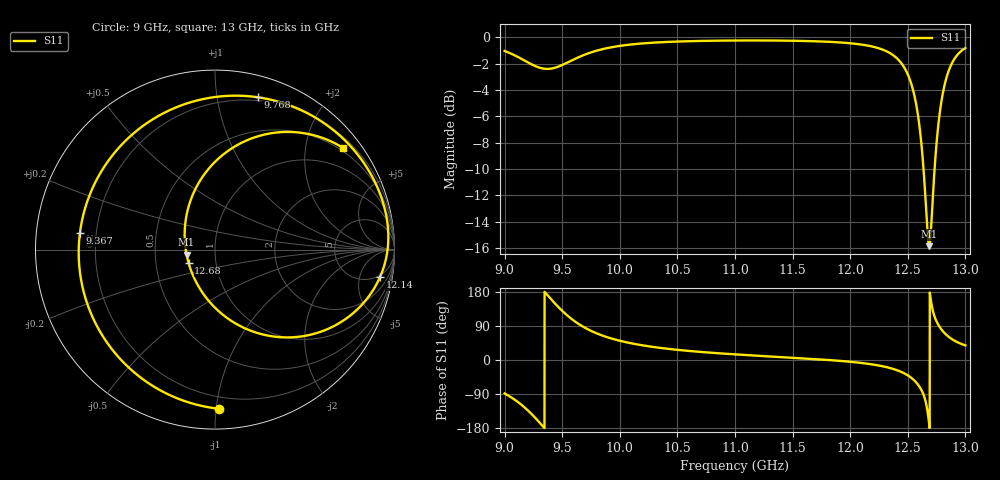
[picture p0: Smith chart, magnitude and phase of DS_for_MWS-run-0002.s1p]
! TOUCHSTONE file generated by CST DESIGN STUDIO
! Date and time: Tue Feb  4 17:26:03 2025
! Project name: C:\Work\MatlabApps\UnitCellOptimizationMatlab\CST\unitcell.cst
! Tree item: Tasks\Sweep1\SPara1\S-Parameters
! Header version: 2024
! Port assignment regex: !\s*Touchstone port\s*([0-9]+)\s*=\s*(CST MWS port|CST DES external port|CST DES block port)\s*(.+)\s* \(\"(.*)\"\)(\s*mode\s*([0-9]+))?.*
! Touchstone port assignment:
! Touchstone port 1 = CST DES external port 1 ("")
# GHz S MA R 50
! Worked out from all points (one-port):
!   4001 points, 9 GHz to 13 GHz, reference 50 ohm
!   lowest |S11| = -15.9 dB at 12.69 GHz (marker M1), VSWR 1.38, Z = 36.3 - j2.17 ohm
!   |S11| at or under -10 dB: 12.64 GHz to 12.73 GHz (96.05 MHz wide, 0.757 % of centre)
!   S11 on the Smith chart (normalised r, x): 9 GHz: 0.12, -1.02; 9.367 GHz: 0.14, +0.06; 9.768 GHz: 0.17, +1.30; 12.14 GHz: 4, -10; 12.68 GHz: 0.74, -0.12; 13 GHz: 0.42, +2.81
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9  0.8872 -88.5
9.095  0.8509 -106.3
9.179  0.8133 -126.7
9.281  0.7726 -157.5
9.367  0.7583 173.0
9.428  0.7642 152.2
9.5  0.7848 129.7
9.619  0.8312 99.9
9.768  0.8815 74.4
10  0.9276 50.7
10.216  0.9493 37.7
10.5  0.9635 26.8
11  0.9723 14.9
11.5  0.9703 6.0
12  0.9493 -4.7
12.14  0.9321 -9.5
12.36  0.8628 -22.4
12.5  0.7227 -40.6
12.599  0.4681 -69.3
12.638  0.3096 -92.6
12.679  0.1654 -152.5
12.686  0.1609 -169.6
12.703  0.1912 152.2
12.737  0.3373 110.8
12.774  0.5025 88.4
12.812  0.6377 73.4
12.903  0.8258 51.4
13  0.9109 38.5
